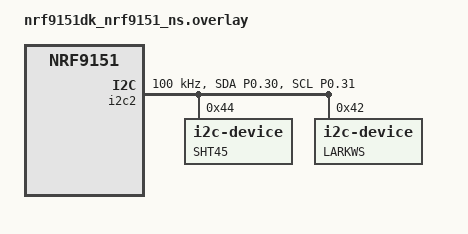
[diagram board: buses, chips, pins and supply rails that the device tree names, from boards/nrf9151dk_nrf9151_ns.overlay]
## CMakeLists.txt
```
#
# Copyright (c) 2022 Nordic Semiconductor
#
# SPDX-License-Identifier: LicenseRef-Nordic-5-Clause
#

cmake_minimum_required(VERSION 3.20.0)

find_package(Zephyr REQUIRED HINTS $ENV{ZEPHYR_BASE})
project(foxmobtemp2026)

# NORDIC SDK APP START
target_sources(app PRIVATE src/main.c src/sht4x.c src/larkws.c src/mobilenet.c)
# NORDIC SDK APP END
```

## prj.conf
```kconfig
CONFIG_TFM_PROFILE_TYPE_MINIMAL=y

CONFIG_NETWORKING=y
CONFIG_NRF_MODEM_LIB=y
CONFIG_NET_SOCKETS=y
CONFIG_NET_SOCKETS_OFFLOAD=y
CONFIG_POSIX_API=y
# NET_NATIVE needs to be n to turn off the software implementation
# in zephyr and instead use what the hardware has. The nameing is
# "slightly" misleading.
CONFIG_NET_NATIVE=n

# documentation for nrf modem lib recommends this
CONFIG_HEAP_MEM_POOL_SIZE=4096
CONFIG_MAIN_STACK_SIZE=8192

CONFIG_MODEM_KEY_MGMT=y
CONFIG_LTE_LINK_CONTROL=y

# Own modifications

CONFIG_MODEM_INFO=y
CONFIG_NRF_MODEM_LIB_ON_FAULT_RESET_MODEM=y
CONFIG_NRF_MODEM_LIB_FAULT_STRERROR=y
CONFIG_GPIO=y
CONFIG_NRFX_GPIOTE_NUM_OF_EVT_HANDLERS=1
CONFIG_POSIX_UNAME_NODENAME_LEN=6
CONFIG_NET_HOSTNAME="foxmobtemp"
CONFIG_NET_HOSTNAME_UNIQUE=y
CONFIG_I2C=y
CONFIG_I2C_NRFX=y
# Recommended for powersaving
CONFIG_LTE_PSM_REQ=y
CONFIG_LTE_EDRX_REQ=y
CONFIG_LTE_LC_EDRX_MODULE=y
# Enable GNSS - and LTE-M and NBIOT.
CONFIG_LTE_NETWORK_MODE_LTE_M_NBIOT_GPS=y
# Enable the location part of the library
CONFIG_LOCATION=y
CONFIG_LOCATION_METHOD_GNSS=y
CONFIG_LOCATION_METHOD_CELLULAR=n
# The mini library for the onboard buttons and LEDs
CONFIG_DK_LIBRARY=y
# we want to handle / print floating point numbers.
CONFIG_FPU=y
CONFIG_PICOLIBC_IO_FLOAT=y
```

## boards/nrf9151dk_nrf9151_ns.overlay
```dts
/* copied from NRF samples so we do not need to rely on those */

/*
 * Copyright (c) 2026 Nordic Semiconductor ASA
 *
 * SPDX-License-Identifier: LicenseRef-Nordic-5-Clause
 */

/delete-node/ &boot_partition;
/delete-node/ &slot0_partition;
/delete-node/ &slot1_partition;
/delete-node/ &tfm_ps_partition;
/delete-node/ &tfm_its_partition;
/delete-node/ &tfm_otp_partition;
/delete-node/ &storage_partition;

&flash0 {
	/*
	 * 0x0000_0000  Primary area			(992 kB)
	 *   0x0000_0000  Primary secure image		( 32 kB)
	 *   0x0000_8000  Primary non-secure image	(960 kB)
	 * 0x000f_8000  Settings storage		( 32 kB)
	 */
	partitions {
		ranges;
		#address-cells = <1>;
		#size-cells = <1>;

		slot0_partition: partition@0 {
			compatible = "zephyr,mapped-partition";
			label = "image-0";
			reg = <0x00000000 0xf8000>;
			ranges = <0x0 0x00000000 0xf8000>;
			#address-cells = <1>;
			#size-cells = <1>;

			slot0_s_partition: partition@0 {
				compatible = "zephyr,mapped-partition";
				label = "image-0-secure";
				reg = <0x00000000 0x8000>;
			};

			slot0_ns_partition: partition@8000 {
				compatible = "zephyr,mapped-partition";
				label = "image-0-nonsecure";
				reg = <0x00008000 0xf0000>;
			};
		};

		storage_partition: partition@f8000 {
			compatible = "zephyr,mapped-partition";
			label = "storage";
			reg = <0x000f8000 0x8000>;
		};
	};
};

/*
 * Copyright (c) 2026 Nordic Semiconductor ASA
 *
 * SPDX-License-Identifier: LicenseRef-Nordic-5-Clause
 */

/delete-node/ &sram0_s;
/delete-node/ &sram0_ns;

&sram0 {
	/*
	 * 0x2000_0000  Secure RAM                      (   32 kB)
	 * 0x2000_8000  Non-secure RAM area             (  224 kB)
	 *   0x2000_8000  Modem shared area             ( 17768 B)
	 *     0x2000_8000  control                     (  1256 B)
	 *     0x2000_84e8  app -> cell                 (  8320 B)
	 *     0x2000_a568  cell -> app                 (    8 kB)
	 *   0x2000_c568  Application RAM               (211608 B)
	 */
	sram0_s: sram@0 {
		reg = <0x0 0x8000>;
	};

	sram0_ns: sram@8000 {
		reg = <0x8000 0x38000>;
		#address-cells = <1>;
		#size-cells = <1>;
		ranges = <0x0 0x8000 0x38000>;

		/* Must be in first 128 kB of RAM. */
		sram0_ns_modem: sram0_ns@0 {
			/* Modem (shared) memory */
			reg = <0x0 0x4568>;
			#address-cells = <1>;
			#size-cells = <1>;
			ranges = <0x0 0x0 0x4568>;

			cpuapp_cpucell_ipc_shm_ctrl: sram0_ns_modem@0 {
				/* Modem IPC control */
				reg = <0x0 0x4e8>;
			};

			cpuapp_cpucell_ipc_shm_heap: sram0_ns_modem@4e8 {
				/* Modem IPC transmit */
				reg = <0x4e8 0x2080>;
			};

			cpucell_cpuapp_ipc_shm_heap: sram0_ns_modem@2568 {
				/* Modem IPC receive */
				reg = <0x2568 0x2000>;
			};
		};

		sram0_ns_app: sram0_ns@4568 {
			/* Non-Secure application memory */
			reg = <0x4568 0x33a98>;
		};
	};
};

&pinctrl {
    i2c2_default: i2c2_default {
        group1 {
            psels = <NRF_PSEL(TWIM_SDA, 0, 30)>,
                    <NRF_PSEL(TWIM_SCL, 0, 31)>;
            bias-pull-up;
        };
    };

    i2c2_sleep: i2c2_sleep {
        group1 {
            psels = <NRF_PSEL(TWIM_SDA, 0, 30)>,
                    <NRF_PSEL(TWIM_SCL, 0, 31)>;
            bias-pull-up;
            low-power-enable;
        };
    };
};

/* This is for TWIM2 -- change to "i2c1" for TWIM1, etc. */
&i2c2 {
    compatible = "nordic,nrf-twim";
    status = "okay";
    pinctrl-0 = <&i2c2_default>;
    pinctrl-1 = <&i2c2_sleep>;
    pinctrl-names = "default", "sleep";
    /* clock-frequency = I2C_BITRATE_STANDARD = 100kHz.
     * This in principle just takes Hz as a numeric value.
     * Unfortunately, the interface is extremely limited. You cannot set
     * arbitrary values here, just 4 predefined ones are permitted.
     * And the slowest of that is 100k, which is way too fast if you use
     * slightly longer wires. We therefore set 100k here and then
     * redefine "100k" to actually mean "10k" in the SDK include
     * nrf9120_bitfields.h (which contains the actual register value
     * programmed into the hardware). */
    clock-frequency = < 100000 >;
    
    /* This was used for first tests and is now not used anymore */
    sht45: sht45@44 {
        compatible = "i2c-device";
        reg = < 0x44 >;
        label = "SHT45";
    };
    
    larkws: larkws@42 {
        compatible = "i2c-device";
        reg = < 0x42 >;
        label = "LARKWS";
    };
};
```

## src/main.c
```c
/*
 * Copyright (c) 2022 Nordic Semiconductor ASA
 *
 * SPDX-License-Identifier: LicenseRef-Nordic-5-Clause
 */

#include <string.h>
#include <unistd.h>
#include <sys/socket.h>
#include <modem/nrf_modem_lib.h>
#include <modem/location.h>
#include <dk_buttons_and_leds.h>
#include "larkws.h"
#include "mobilenet.h"


static K_SEM_DEFINE(location_event, 0, 1);

volatile int gps_gotafix = 0;
double gps_lat, gps_lon, gps_acc;

static void location_event_handler(const struct location_event_data *event_data)
{
    switch (event_data->id) {
    case LOCATION_EVT_LOCATION:
            printk("Got location:\n");
            printk("  method: %s\n", location_method_str(event_data->method));
            printk("  latitude: %.06f\n", event_data->location.latitude);
            printk("  longitude: %.06f\n", event_data->location.longitude);
            printk("  accuracy: %.01f m\n", (double)event_data->location.accuracy);
            gps_gotafix = 1;
            gps_lat = event_data->location.latitude;
            gps_lon = event_data->location.longitude;
            gps_acc = event_data->location.accuracy;
            if (event_data->location.datetime.valid) {
                    printk("  date: %04d-%02d-%02d\n",
                            event_data->location.datetime.year,
                            event_data->location.datetime.month,
                            event_data->location.datetime.day);
                    printk("  time: %02d:%02d:%02d.%03d UTC\n",
                            event_data->location.datetime.hour,
                            event_data->location.datetime.minute,
                            event_data->location.datetime.second,
                            event_data->location.datetime.ms);
            }
            k_sem_give(&location_event);
            break;
    case LOCATION_EVT_TIMEOUT:
    case LOCATION_EVT_ERROR:
            printk("Location event: %s\n", ((event_data->id == LOCATION_EVT_TIMEOUT) ? "timeout" : "ERROR"));
            /* No need to wait any longer, we will not get a fix ever. */
            k_sem_give(&location_event);
            break;
    default:
            printk("Getting location: Unknown event id %d\n", event_data->id);
            break;
    }
}

int main(void)
{
    int err;

    printk("Fox mobile temp 2026 iteration firmware started\n\r");

    /* Init the mini library for the onboard buttons and leds */
    dk_leds_init();
    //dk_buttons_init(HANDLER);

    /* Init the modem but do not connect to the network yet.
     * the GPS shares the antenna, so we must not connect before we are
     * done with the GPS, or else we're never going to get a fix as
     * we won't get the shared antenna for 4 minutes in a row. */
    mobilenet_init();

    printk("Trying to find GPS location (expected 4 min, timeout 10 min)...\n");
    err = location_init(location_event_handler);
    if (err) {
      printk("Initializing the Location library failed, error: %d\n", err);
      return 0;
    }
    struct location_config lc;
    enum location_method methods[] = { LOCATION_METHOD_GNSS };
    location_config_defaults_set(&lc, ARRAY_SIZE(methods), methods);
    lc.interval = 0;
    lc.methods[0].gnss.timeout = 600 * MSEC_PER_SEC;
    lc.methods[0].gnss.priority_mode = false;
    lc.methods[0].gnss.visibility_detection = true;
    location_request(&lc);
    /* Wait for a fix */
    int secstowait = 600;
    int ledstate = 0;
    int gotsem;
    do {
      gotsem = k_sem_take(&location_event, K_SECONDS(1));
      /* We blink LED3 while we wait */
      ledstate = !ledstate;
      if (ledstate == 0) {
        dk_set_led_off(DK_LED3);
      } else {
        dk_set_led_on(DK_LED3);
      }
      secstowait--;
    } while ((gotsem != 0) && (secstowait > 0));
    location_request_cancel(); /* try to cancel anything that is still pending */
    if (gps_gotafix) {
      /* Turn LED3 on permanently to signal success */
      dk_set_led_on(DK_LED3);
    } else {
      /* Turn LED3 off permanently to signal failure */
      dk_set_led_off(DK_LED3);
    }

    /* Initialize sensor */
    larkws_init();
    /* connect to mobile network */
    mobilenet_connect();

    /* send location info - if any */
    if (gps_gotafix) {
      mobilenet_sendlocation(gps_lat, gps_lon);
    }

    while (1) {
      /* Loop around this. Do not turn off LTE - the module should
       * use way less power if it does not have to reconnect all
       * the time. */
      k_sleep(K_SECONDS(180));
      double temp = larkws_getvalue_double(LARKWS_TEMPERATURE);
      double hum = larkws_getvalue_double(LARKWS_HUMIDITY);
      double press = larkws_getvalue_double(LARKWS_PRESSURE);
      double windsp = larkws_getvalue_double(LARKWS_WINDSPEED);
      /* we convert the wind speed from m/s to km/h. Our other stations all use
       * that as unit, and I find it a lot easier to visualize such a value. */
      windsp = (windsp * 3600.0) / 1000.0;
      char winddir[16];
      larkws_getvalue_string(LARKWS_WINDDIR, winddir, sizeof(winddir));
      printk("Temperature: %.2lf (degC)\n", temp);
      printk("Humidity:    %.2lf (%%)\n", hum);
      printk("Pressure:    %.2lf (hPa | mbar)\n", press);
      printk("WindSpeed:   %.2lf (km/h)\n", windsp);
      printk("WindDir:     %s\n", winddir);
      int res = mobilenet_sendweatherdata(temp, hum, press, windsp, winddir);
      if (res == 1) {
        printk("Sending weather data succeeded.\n");
      } else {
        printk("Attempt to send weather data failed.\n");
      }
    }

    /* Never reached. */
    /* mobilenet_shutdown(); */
    return 0;
}
```

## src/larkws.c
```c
/* Talking to dfrobot lark weather station over I2C */

#define TWIM_FREQUENCY_FREQUENCY_K100 (0x0028F000UL)

#include <zephyr/kernel.h>
#include <zephyr/drivers/i2c.h>
#include <math.h>
#include <stdlib.h>
#include "larkws.h"

/* #define LARKWSBASEADDR 0x21  - 0x21 to 0x23 supported?
 * not needed here, it's defined in the device tree. */

/* raw commands sent to the weatherstation */
#define LWS_GET_DATA      0x00
#define LWS_GET_ALL_DATA  0x01
#define LWS_SET_TIME      0x02
#define LWS_GET_TIME      0x03
#define LWS_GET_UNIT      0x04
#define LWS_GET_VERSION   0x05

#define LWS_STATUS_SUCCESS  0x53

static const struct i2c_dt_spec larkwsi2cdev = I2C_DT_SPEC_GET(DT_NODELABEL(larkws));

void larkws_init(void)
{
    /* Nothing to do here really. */
}

void larkws_getvalue_string(const char * what, char * result, int reslen)
{
    char i2cpacket[16];
    int ret;
    result[0] = 0;
    if (reslen < 6) {
      return; /* Not supported. Just fail. */
    }
    if (strlen(what) > 8) {
      return;
    }
    i2cpacket[0] = LWS_GET_DATA;
    i2cpacket[1] = strlen(what) & 0xff; /* low byte */
    i2cpacket[2] = 0; /* high byte - always 0 anyways due to length constraints */
    strcpy(&i2cpacket[3], what);
    ret = i2c_write_dt(&larkwsi2cdev, &i2cpacket[0], strlen(what) + 3);
    if (ret != 0) {
      printk("[larkws] I2C write to weather station failed.\n");
      return;
    }
    uint32_t stts = k_uptime_get_32();
    do {
      ret = i2c_read_dt(&larkwsi2cdev, &i2cpacket[0], 1);
      if (ret == 0) { break; }
      /* Retry until timeout */
      printk(".");
    } while ((k_uptime_get_32() - stts) < 500U);
    if (ret != 0) { /* We never got a result. */
      printk("[larkws] I2C read timed out.\n");
      return;
    }
    if (i2cpacket[0] != LWS_STATUS_SUCCESS) {
      /* the result was not 'success' */
      printk("[larkws] Weather station returned %x instead of success.\n",
             i2cpacket[0]);
      return;
    }
    /* Now it gets interesting: There seems to be a valid
     * result. Read it. */
    ret = i2c_read_dt(&larkwsi2cdev, &i2cpacket[0], 3);
    if (ret != 0) { /* ?! */
      printk("[larkws] 2nd I2C read failed?!\n");
      return;
    }
    if (i2cpacket[0] != LWS_GET_DATA) {
      printk("[larkws] got result for wrong command?!\n");
      return;
    }
    unsigned int len = i2cpacket[1] | (i2cpacket[2] << 8);
    if (len > sizeof(i2cpacket)) {
      printk("[larkws] got oversized reply %u bytes %x %x\n",
             len, i2cpacket[1], i2cpacket[2]);
      return;
    }
    ret = i2c_read_dt(&larkwsi2cdev, &i2cpacket[0], len);
    if (ret != 0) { /* ?! */
      printk("[larkws] 3rd I2C read failed?!\n");
      return;
    }
    /* Copy result into output buffer */
    int i;
    for (i = 0; ((i < (reslen - 1)) && (i < len)); i++) {
      result[i] = i2cpacket[i];
    }
    result[i] = 0;
}

double larkws_getvalue_double(const char * what)
{
    char buf[16]; double res; char * endptr;
    larkws_getvalue_string(what, &buf[0], sizeof(buf));
    if (buf[0] == 0) { /* no valid reply */
      printk("[larkws] nothing to convert to double\n");
      return NAN;
    }
    res = strtod(buf, &endptr);
    if (strlen(endptr) != 0) {
      printk("[larkws] characters remaining after double conversion\n");
      return NAN;
    }
    return res;
}
```

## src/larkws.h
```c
/* Talking to dfrobot lark weatherstation over I2C */

#ifndef _LARKWS_H_
#define _LARKWS_H_

#define LARKWS_TEMPERATURE "Temp"
#define LARKWS_HUMIDITY "Humi"
#define LARKWS_WINDSPEED "Speed"
#define LARKWS_WINDDIR "Dir"
#define LARKWS_PRESSURE "Pressure"

/* Initialize the Lark Weather Station */
void larkws_init(void);

/* Request one type of data from the weather station.
 * Parameters:
 * what - which sensor value to get. Irritatingly, due to the weather stations
 *    interface, this is a string, e.g. "Pressure". There are defines that
 *    can be used, like e.g. LARKWS_TEMPERATURE
 * result - where to write the result. This needs to be at least 6 bytes large.
 * reslen - size of the result buffer.
 */
void larkws_getvalue_string(const char * what, char * result, int reslen);

/* Like above, but returns a float, or "NaN" on error. */
double larkws_getvalue_double(const char * what);

#endif /* _LARKWS_H_ */
```

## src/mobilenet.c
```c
#include <string.h>
#include <unistd.h>
#include <sys/socket.h>
#include <netdb.h>
#include <modem/lte_lc.h>
#include <modem/nrf_modem_lib.h>
#include <modem/modem_key_mgmt.h>
#include <dk_buttons_and_leds.h>
#include <math.h>
/* This defines WPDTOKEN: */
#include "secrets.h"

/* the sensor IDs used in submissions to wetter.poempelfox.de. */
#define SENSORID_TEMP "113"
#define SENSORID_HUM "112"
#define SENSORID_PRESS "114"
#define SENSORID_WINDSPEED "115"
#define SENSORID_WINDDIR "116"

#define HTTP_HOSTNAME_LOC "wetter.poempelfox.de"
#define HTTP_PORT_LOC 80
#define HTTP_PATH_LOC "/doesnotexist/submit-location/?"

#define HTTP_HOSTNAME_WEDA "wetter.poempelfox.de"
#define HTTP_PORT_WEDA 80
#define HTTP_PATH_WEDA "/api/pushmeasurement/"

#define REQUEST_LOC1 "GET " HTTP_PATH_LOC
#define REQUEST_LOC2 " HTTP/1.1\r\nHost: " HTTP_HOSTNAME_LOC "\r\nConnection: close\r\n\r\n"

#define REQUEST_WEDA1 "POST " HTTP_PATH_WEDA " HTTP/1.1\r\nHost: " HTTP_HOSTNAME_WEDA "\r\nConnection: close\r\nContent-type: application/json\r\nX-Sensor: "
#define REQUEST_WEDA2 "\r\nContent-Length: "
#define REQUEST_WEDA3 "\r\n\r\n"

void mobilenet_init(void)
{
  int err = nrf_modem_lib_init();
  if (err) {
    printk("Modem library initialization failed, error: %d\n", err);
    return;
  }
}

void mobilenet_connect(void)
{
  printk("Waiting for network... ");
  int err = lte_lc_connect();
  if (err) {
    printk("Failed to connect to the LTE network, err %d\n", err);
    return;
  }
  printk("OK\n");
}

void mobilenet_shutdown(void)
{
  lte_lc_power_off();
}

int mobilenet_sendhttprequest(const char * host, uint16_t port, const char * request)
{
  int err;
  int fd = -1;
  int succ = 0;
  struct addrinfo * reshn = NULL;

  struct addrinfo hints = {
      .ai_family = AF_INET, /* Our IOT SIM only does IPv4 anyways :( */
      .ai_socktype = SOCK_STREAM,
  };
  printk("Resolving hostname %s... ", host);
  err = zsock_getaddrinfo(host, NULL, &hints, &reshn);
  if (err) {
    printk("getaddrinfo() failed, err %d, %s\n", errno, strerror(errno));
    goto cleanupandout;
  }
  char ipv4txt[NET_IPV4_ADDR_LEN];
  zsock_inet_ntop(AF_INET, &(((struct sockaddr_in *)reshn->ai_addr)->sin_addr.s_addr), ipv4txt, sizeof(ipv4txt));
  printk("Resolved to %s\n", ipv4txt);
  ((struct sockaddr_in *)reshn->ai_addr)->sin_port = htons(port);

  printk("Opening socket... ");
  fd = zsock_socket(AF_INET, SOCK_STREAM, IPPROTO_TCP);
  if (fd == -1) {
    printk("Failed to open socket!\n");
    goto cleanupandout;
  }

  printk("Connecting to %s on port %d... ", host, port);
  err = zsock_connect(fd, reshn->ai_addr, sizeof(struct sockaddr_in));
  if (err) {
    printk("connect() failed, err: %d, %s\n", errno, strerror(errno));
    goto cleanupandout;
  } else {
    printk("Connected.\n");
  }

  printk("Sending data... ");
  err = zsock_send(fd, request, strlen(request), 0);
  if (err < 0) {
    printk("send() failed, err: %d, %s\n", errno, strerror(errno));
  }

  printk("Response:\n\n");
  char rbuf[2];
  char lastline[300];
  strcpy(lastline, "");
  rbuf[1] = 0;
  while (1) {
    /* Read the reply byte by byte, assembling lines that we can then parse. */
    int len = zsock_recv(fd, rbuf, 1, 0);
    if (len < 0) {
      printk("Error reading response\n");
      break;
    }
    if (len == 0) { /* We have reached the end */
      break;
    }
    /* Append to lastline */
    if ((rbuf[0] == '\r') || (rbuf[0] == '\n')) {
      printk("Processing line: '%s'\n", lastline);
      /* process the now completed line. */
      if (strncmp(lastline, "HTTP/", 5) == 0) {
        int l = strlen(lastline);
        int i = 5;
        while ((i < (l - 1)) && (lastline[i] != ' ')) { i++; }
        if (strncmp(&lastline[i], " 200", 4) == 0) {
          /* we found HTTP STATUS 200! */
          succ = 1;
        }
      }
      strcpy(lastline, "");
    } else {
      if (strlen(lastline) < (sizeof(lastline) - 2)) {
        strcat(lastline, rbuf);
      }
    }
  }

cleanupandout:
  if (fd >= 0) {
    zsock_close(fd);
  }
  if (reshn != NULL) {
    zsock_freeaddrinfo(reshn);
  }
  printk("\ncleanup finished.\n");

  return succ;
}

int mobilenet_sendlocation(double lat, double lon)
{
  char request[sizeof(REQUEST_LOC1) + sizeof(REQUEST_LOC2) + 100];
  strcpy(request, REQUEST_LOC1);
  sprintf(&request[strlen(request)], "lat=%.4lf&lon=%.4lf", lat, lon);
  strcat(request, REQUEST_LOC2);
  int res = mobilenet_sendhttprequest(HTTP_HOSTNAME_LOC, HTTP_PORT_LOC, request);
  return res;
}

struct widimapentry {
  char * str;
  double deg;
};

/* According to the documentation this only has 8 directions */
static const struct widimapentry widimap[] = {
  { .str = "N",   .deg =   0.0 },
  { .str = "NE",  .deg =  45.0 },
  { .str = "E",   .deg =  90.0 },
  { .str = "SE",  .deg = 135.0 },
  { .str = "S",   .deg = 180.0 },
  { .str = "SW",  .deg = 225.0 },
  { .str = "W",   .deg = 270.0 },
  { .str = "NW",  .deg = 315.0 }
};

int mobilenet_sendweatherdata(double temp, double hum, double press, double windspeed, char * winddir)
{
  char request[sizeof(REQUEST_WEDA1) + sizeof(REQUEST_WEDA2) + sizeof(REQUEST_WEDA3) + 500];
  char rcont[400];
  int nrvals = 0;
  if (strlen(WPDTOKEN) < 10) {
    printk("[mobilenet] NOT submitting weather data because WPDTOKEN is not set.\n");
    return 0;
  }
  /* convert wind direction to a float/double */
  double fwidir = NAN;
  for (int i = 0; i < 8; i++) {
    if (strcmp(winddir, widimap[i].str) == 0) {
      fwidir = widimap[i].deg;
    }
  }
  strcpy(rcont, "{\"software_version\":\"foxmobtemp2026v0.1\",\"sensordatavalues\":[");
  /* Helper macro to avoid copy+paste orgy */
#define ADDTOSUBM(what, sensorid, formatstring) \
  if (!isnan(what)) { \
    if (nrvals > 0) { strcat(rcont, ","); } \
    sprintf(&rcont[strlen(rcont)], \
            "{\"value_type\":\"%s\",\"value\":\"" formatstring "\"}", sensorid, what); \
    nrvals++; \
  }
  /* End of macro definition */
  ADDTOSUBM(temp, SENSORID_TEMP, "%.2f");
  ADDTOSUBM(hum, SENSORID_HUM, "%.2f");
  ADDTOSUBM(press, SENSORID_PRESS, "%.3f");
  ADDTOSUBM(windspeed, SENSORID_WINDSPEED, "%.3f");
  ADDTOSUBM(fwidir, SENSORID_WINDDIR, "%.1f");
  /* Clean up the macro */
#undef ADDTOSUBM
  if (nrvals <= 0) {
    printk("[mobilenet] NOT submitting weather data because there is no valid data to send.\n");
    return 0;
  }
  strcat(rcont, "]}\n");
  strcpy(request, REQUEST_WEDA1);
  strcat(request, WPDTOKEN);
  strcat(request, REQUEST_WEDA2);
  sprintf(&request[strlen(request)], "%u", strlen(rcont));
  strcat(request, REQUEST_WEDA3);
  strcat(request, rcont);
  printk("Attempting to send request:\n%s\n", request);
  int res = mobilenet_sendhttprequest(HTTP_HOSTNAME_WEDA, HTTP_PORT_WEDA, request);
  return res;
}
```

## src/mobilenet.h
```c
/* Functions for the mobile network */

#ifndef _MOBILENET_H_
#define _MOBILENET_H_

/* Initialize the modem */
void mobilenet_init(void);

/* connect to the network. */
void mobilenet_connect(void);

/* shut down the mobile network */
void mobilenet_shutdown(void);

/* Returns 1 on success */
int mobilenet_sendlocation(double lat, double lon);

/* Returns 1 on success */
int mobilenet_sendweatherdata(double temp, double hum, double press, double windspeed, char * winddir);

#endif /* _MOBILENET_H_ */
```

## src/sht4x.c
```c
/* Talking to SHT4x (SHT40, SHT41, SHT45) temperature / humidity sensors */

#include <zephyr/drivers/i2c.h>
#include "sht4x.h"

#define SHT4XBASEADDR 0x44 /* there are variants with 0x45 and 0x46, but 0x44 is by far the most common. */

/* Measurement with high precision */
#define SHT4X_CMD_MEASURE_HIGH 0xFD
/* Turn on heater with medium power (110 mW) for 1 second */
#define SHT4X_CMD_HEAT_MID_LONG 0x2F

static const struct i2c_dt_spec sht4xi2cdev = I2C_DT_SPEC_GET(DT_NODELABEL(sht45));

void sht4x_init(void)
{
    /* The default power-on-config of the sensor should
     * be perfectly fine for us, so there is nothing to
     * configure here. */
}

void sht4x_startmeas(void)
{
    uint8_t cmd[1] = { SHT4X_CMD_MEASURE_HIGH };
    i2c_write_dt(&sht4xi2cdev, cmd, sizeof(cmd));
    /* We ignore the return value. If that failed, we'll notice
     * soon enough, namely when we try to read the result... */
}

/* This function is based on Sensirons example code and datasheet
 * for the SHT3x and was written for that. CRC-calculation is
 * exactly the same for the SHT4x, so we reuse it. */
static uint8_t sht4x_crc(uint8_t b1, uint8_t b2)
{
    uint8_t crc = 0xff; /* Start value */
    uint8_t b;
    crc ^= b1;
    for (b = 0; b < 8; b++) {
      if (crc & 0x80) {
        crc = (crc << 1) ^ 0x131;
      } else {
        crc = crc << 1;
      }
    }
    crc ^= b2;
    for (b = 0; b < 8; b++) {
      if (crc & 0x80) {
        crc = (crc << 1) ^ 0x131;
      } else {
        crc = crc << 1;
      }
    }
    return crc;
}

void sht4x_read(struct sht4xdata * d)
{
    uint8_t readbuf[6];
    d->valid = 0; d->tempraw = 0xffff;  d->humraw = 0xffff;
    d->temp = -999.99; d->hum = 200.0;
    int res = i2c_read_dt(&sht4xi2cdev, readbuf, sizeof(readbuf));
    if (res != 0) {
      printk("[sht4x.c] ERROR: I2C-read from SHT4x failed.\n");
      return;
    }
    /* Check CRC */
    if (sht4x_crc(readbuf[0], readbuf[1]) != readbuf[2]) {
      printk("[sht4x.c] ERROR: CRC-check for read part 1 failed.\n");
      return;
    }
    if (sht4x_crc(readbuf[3], readbuf[4]) != readbuf[5]) {
      printk("[sht4x.c] ERROR: CRC-check for read part 2 failed.\n");
      return;
    }
    /* OK, CRC matches, this is looking good. */
    d->tempraw = (readbuf[0] << 8) | readbuf[1];
    d->humraw = (readbuf[3] << 8) | readbuf[4];
    d->temp = -45.0 + 175.0 * ((double)d->tempraw / 65535.0);
    d->hum = -6.0 + 125.0 * ((double)d->humraw / 65535.0);
    /* Cap values to 0-100 range - the sensor may return values
     * that are slightly outside that range */
    if (d->hum < 0.0) { d->hum = 0.0; }
    if (d->hum > 100.0) { d->hum = 100.0; }
    /* Mark the result as valid. */
    d->valid = 1;
}

void sht4x_heatercycle(void)
{
    uint8_t cmd[1] = { SHT4X_CMD_HEAT_MID_LONG };
    printk("[sht4x.c] turning SHT4x heater on for 1.0 seconds at medium power (110 mW).\n");
    i2c_write_dt(&sht4xi2cdev, cmd, sizeof(cmd));
}
```

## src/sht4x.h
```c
/* Talking to SHT4x (SHT40, SHT41, SHT45) temperature / humidity sensors */

#ifndef _SHT4X_H_
#define _SHT4X_H_

struct sht4xdata {
  uint8_t valid;
  uint16_t tempraw;
  uint16_t humraw;
  double temp;
  double hum;
};

/* Initialize the SHT4x */
void sht4x_init(void);

/* Request a oneshot-measurement from the SHT4x */
void sht4x_startmeas(void);

/* Read temperature / humidity data from the sensor.
 * You need to request a oneshot-measurement before reading,
 * and you can only read every measurement at most once! */
void sht4x_read(struct sht4xdata * d);

/* Run a long (==1 second) heater cycle at medium power.
 * This should improve accuracy of humidity measurements after
 * the sensor has been exposed to high humidity for a long time
 * in a row. See the sensor documentation for details (relevant
 * keyword: creep mitigation). */
void sht4x_heatercycle(void);

#endif /* _SHT4X_H_ */
```
